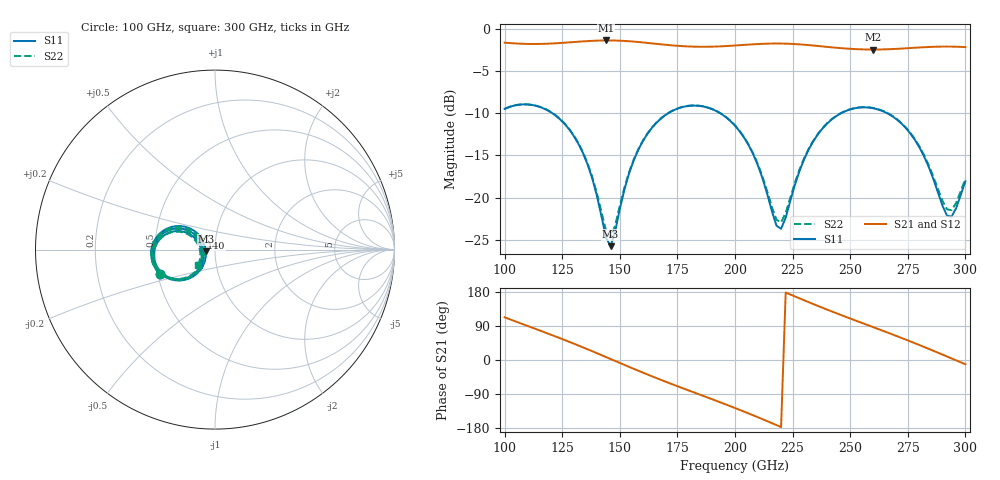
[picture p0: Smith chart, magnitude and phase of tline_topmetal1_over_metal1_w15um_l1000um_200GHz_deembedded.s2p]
! Created with skrf 2.2.0 (http://scikit-rf.org).
# GHz S DB R 50.0
! Port[1] = P1
! Port[2] = P2
!freq dBS11 angS11 dBS21 angS21 dBS12 angS12 dBS22 angS22
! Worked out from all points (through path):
!   101 points, 100 GHz to 300 GHz, reference 50 ohm
!   highest |S21| = -1.37 dB at 144 GHz (marker M1); lowest = -2.4 dB at 260 GHz (marker M2)
!   group delay of S21, straight-line fit = 6.73 ps
!   lowest |S11| = -25.8 dB at 146 GHz (marker M3), VSWR 1.11, Z = 45.2 - j0.861 ohm
!   |S11| at or under -10 dB: 120.7 GHz to 171 GHz (50.34 GHz wide, 34.5 % of centre); 193.5 GHz to 246 GHz (52.49 GHz wide, 23.9 % of centre); 266.1 GHz to end of sweep
!   |S22| runs from -24.7 to -8.9 dB; largest |S21 - S12| = 9.8e-14
!   S11 on the Smith chart (normalised r, x): 100 GHz: 0.51, -0.16; 140 GHz: 0.85, +0.12; 300 GHz: 0.83, -0.15
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100  -9.49 -156.2  -1.63 112.7  -1.63 112.7  -9.47 -155.9
118  -9.56 167.8  -1.76 71.6  -1.76 71.6  -9.54 168.7
134  -14.72 139.9  -1.48 33.3  -1.48 33.3  -14.63 141.9
140  -19.72 139.3  -1.39 18.1  -1.39 18.1  -19.43 142.5
144  -24.75 162.2  -1.37 7.8  -1.37 7.8  -23.90 165.0
146  -25.77 -169.4  -1.37 2.6  -1.37 2.6  -24.74 -169.9
156  -15.62 -126.8  -1.50 -23.2  -1.50 -23.2  -15.52 -128.5
168  -10.60 -145.7  -1.83 -52.7  -1.83 -52.7  -10.57 -146.2
184  -9.12 -176.2  -2.11 -89.7  -2.11 -89.7  -9.09 -176.0
200  -11.48 154.7  -1.97 -126.7  -1.97 -126.7  -11.44 155.6
208  -14.93 144.2  -1.82 -146.3  -1.82 -146.3  -14.83 145.8
218  -23.34 171.5  -1.73 -171.7  -1.73 -171.7  -22.63 173.1
220  -23.71 -166.6  -1.74 -176.8  -1.74 -176.8  -22.95 -167.1
228  -16.85 -129.9  -1.83 162.6  -1.83 162.6  -16.68 -131.7
234  -13.32 -134.1  -1.97 147.6  -1.97 147.6  -13.25 -135.2
246  -10.00 -153.7  -2.28 118.8  -2.28 118.8  -9.97 -154.0
260  -9.41 -179.0  -2.44 86.7  -2.44 86.7  -9.38 -178.7
268  -10.31 167.0  -2.39 68.3  -2.39 68.3  -10.26 167.6
280  -14.03 150.1  -2.20 39.5  -2.20 39.5  -13.92 151.6
292  -22.13 177.5  -2.09 9.3  -2.09 9.3  -21.39 178.5
294  -22.26 -165.0  -2.10 4.1  -2.10 4.1  -21.50 -165.8
300  -18.07 -134.8  -2.16 -11.2  -2.16 -11.2  -17.77 -137.3
